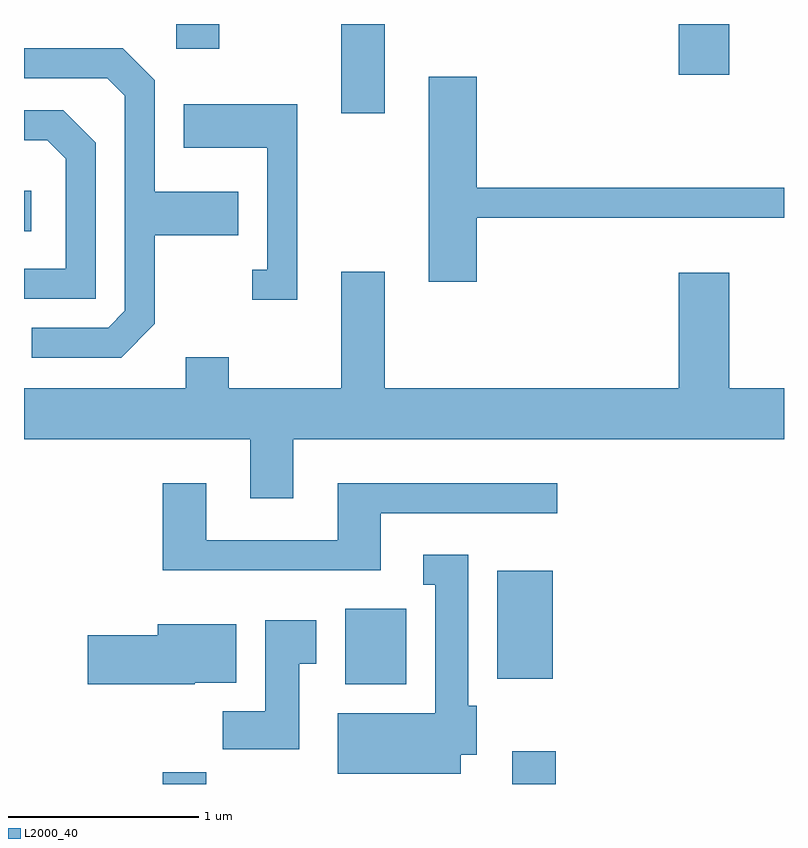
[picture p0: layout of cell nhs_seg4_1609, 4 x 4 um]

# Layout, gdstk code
import gdstk
lib = gdstk.Library(unit=1e-6, precision=1e-09)
def R(c, l, rs):  # rectangles x0, y0, x1, y1
    for r in rs: c.add(gdstk.rectangle(r[:2], r[2:], *l))
def P(c, l, *ps):  # polygons
    for p in ps: c.add(gdstk.Polygon(p, *l))
L2000_40 = (2000, 40)

nhs_seg4_1609 = lib.new_cell('nhs_seg4_1609')
R(nhs_seg4_1609, L2000_40, [(232.341,1343.982,232.569,1344.044), (234.181,1343.982,234.409,1344.154), (233.301,1344.506,233.624,1344.904), (234.101,1344.536,234.394,1345.104), (231.611,1346.891,231.649,1347.104), (233.281,1347.511,233.509,1347.982), (235.056,1347.716,235.324,1347.982), (232.411,1347.851,232.639,1347.982)])
P(nhs_seg4_1609, L2000_40, [(232.299,1346.404),(232.299,1346.871),(232.739,1346.871),(232.739,1347.099),(232.299,1347.099),(232.299,1347.687),(232.132,1347.854),(231.611,1347.854),(231.611,1347.696),(232.049,1347.696),(232.141,1347.604),(232.141,1346.472),(232.054,1346.384),(231.653,1346.384),(231.653,1346.226),(232.122,1346.226)],
  [(233.994,1346.961),(235.611,1346.961),(235.611,1347.119),(233.994,1347.119),(233.994,1347.704),(233.741,1347.704),(233.741,1346.626),(233.994,1346.626)],
  [(233.049,1347.559),(232.451,1347.559),(232.451,1347.331),(232.891,1347.331),(232.891,1346.689),(232.813,1346.689),(232.813,1346.531),(233.049,1346.531)],
  [(231.989,1347.357),(231.817,1347.529),(231.611,1347.529),(231.611,1347.371),(231.734,1347.371),(231.831,1347.274),(231.831,1346.694),(231.611,1346.694),(231.611,1346.536),(231.989,1346.536)],
  [(233.029,1345.796),(235.611,1345.796),(235.611,1346.064),(235.324,1346.064),(235.324,1346.674),(235.056,1346.674),(235.056,1346.064),(233.509,1346.064),(233.509,1346.679),(233.281,1346.679),(233.281,1346.064),(232.689,1346.064),(232.689,1346.229),(232.461,1346.229),(232.461,1346.064),(231.611,1346.064),(231.611,1345.796),(232.801,1345.796),(232.801,1345.486),(233.029,1345.486)],
  [(233.489,1345.406),(234.418,1345.406),(234.418,1345.564),(233.261,1345.564),(233.261,1345.264),(232.569,1345.264),(232.569,1345.564),(232.341,1345.564),(232.341,1345.106),(233.489,1345.106)],
  [(233.909,1344.136),(233.994,1344.136),(233.994,1344.394),(233.949,1344.394),(233.949,1345.189),(233.713,1345.189),(233.713,1345.031),(233.776,1345.031),(233.776,1344.354),(233.261,1344.354),(233.261,1344.036),(233.909,1344.036)],
  [(233.059,1344.616),(233.149,1344.616),(233.149,1344.844),(232.881,1344.844),(232.881,1344.364),(232.656,1344.364),(232.656,1344.166),(233.059,1344.166)],
  [(232.51,1344.516),(232.729,1344.516),(232.729,1344.824),(232.316,1344.824),(232.316,1344.764),(231.946,1344.764),(231.946,1344.506),(232.51,1344.506)])

lib.write_gds('nhs_seg4_1609.gds')
